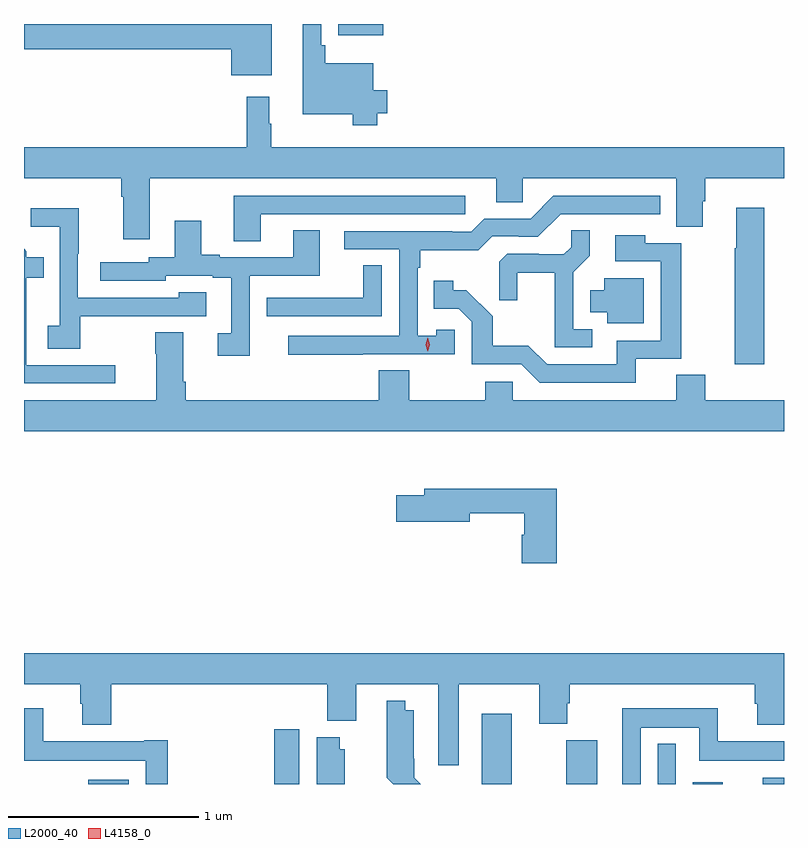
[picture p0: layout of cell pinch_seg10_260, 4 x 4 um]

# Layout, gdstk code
import gdstk
lib = gdstk.Library(unit=1e-6, precision=1e-09)
def R(c, l, rs):  # rectangles x0, y0, x1, y1
    for r in rs: c.add(gdstk.rectangle(r[:2], r[2:], *l))
def P(c, l, *ps):  # polygons
    for p in ps: c.add(gdstk.Polygon(p, *l))
L2000_40 = (2000, 40)
L4158_0 = (4158, 0)

pinch_seg10_260 = lib.new_cell('pinch_seg10_260')
R(pinch_seg10_260, L2000_40, [(514.919,1286.472,515.134,1286.494), (515.9,1286.472,516.031,1286.761), (516.992,1286.472,517.15,1286.842), (517.436,1286.472,517.6,1286.703), (517.917,1286.472,518.013,1286.683), (518.102,1286.472,518.26,1286.482), (518.471,1286.472,518.582,1286.506), (516.236,1290.413,516.472,1290.472)])
P(pinch_seg10_260, L2000_40, [(515.887,1290.472),(514.582,1290.472),(514.582,1290.34),(515.672,1290.34),(515.672,1290.203),(515.887,1290.203)],
  [(516.44,1290.002),(516.494,1290.002),(516.494,1290.124),(516.421,1290.124),(516.421,1290.265),(516.167,1290.265),(516.167,1290.361),(516.147,1290.361),(516.147,1290.472),(516.05,1290.472),(516.05,1289.996),(516.312,1289.996),(516.312,1289.939),(516.44,1289.939)],
  [(515.245,1289.66),(517.067,1289.66),(517.067,1289.533),(517.206,1289.533),(517.206,1289.66),(518.015,1289.66),(518.015,1289.404),(518.155,1289.404),(518.155,1289.538),(518.168,1289.538),(518.168,1289.66),(518.582,1289.66),(518.582,1289.824),(515.884,1289.824),(515.884,1289.948),(515.872,1289.948),(515.872,1290.088),(515.755,1290.088),(515.755,1289.824),(514.582,1289.824),(514.582,1289.66),(515.093,1289.66),(515.093,1289.564),(515.105,1289.564),(515.105,1289.34),(515.245,1289.34)],
  [(516.365,1288.734),(516.849,1288.734),(516.849,1288.863),(516.753,1288.863),(516.753,1288.831),(516.654,1288.831),(516.654,1289.189),(516.667,1289.189),(516.667,1289.282),(516.974,1289.282),(517.047,1289.355),(517.186,1289.355),(517.186,1289.352),(517.287,1289.352),(517.407,1289.472),(517.93,1289.472),(517.93,1289.568),(517.368,1289.568),(517.248,1289.448),(517.005,1289.448),(516.936,1289.379),(516.836,1289.379),(516.836,1289.382),(516.267,1289.382),(516.267,1289.286),(516.558,1289.286),(516.558,1288.83),(515.972,1288.83),(515.972,1288.732),(516.365,1288.732)],
  [(515.827,1289.472),(516.904,1289.472),(516.904,1289.568),(515.687,1289.568),(515.687,1289.329),(515.827,1289.329)],
  [(518.477,1289.506),(518.33,1289.506),(518.33,1289.293),(518.323,1289.293),(518.323,1288.68),(518.477,1288.68)],
  [(514.879,1288.933),(515.183,1288.933),(515.183,1288.935),(515.542,1288.935),(515.542,1289.059),(515.397,1289.059),(515.397,1289.031),(514.866,1289.031),(514.866,1289.264),(514.869,1289.264),(514.869,1289.503),(514.617,1289.503),(514.617,1289.405),(514.77,1289.405),(514.77,1288.884),(514.707,1288.884),(514.707,1288.762),(514.879,1288.762)],
  [(515.769,1289.148),(516.139,1289.148),(516.139,1289.387),(515.999,1289.387),(515.999,1289.244),(515.611,1289.244),(515.611,1289.257),(515.515,1289.257),(515.515,1289.437),(515.375,1289.437),(515.375,1289.244),(515.238,1289.244),(515.238,1289.217),(514.983,1289.217),(514.983,1289.121),(515.328,1289.121),(515.328,1289.148),(515.576,1289.148),(515.576,1289.136),(515.672,1289.136),(515.672,1288.845),(515.601,1288.845),(515.601,1288.725),(515.769,1288.725)],
  [(517.573,1288.866),(517.473,1288.866),(517.473,1289.165),(517.559,1289.251),(517.559,1289.387),(517.461,1289.387),(517.461,1289.296),(517.424,1289.259),(517.29,1289.259),(517.29,1289.262),(517.125,1289.262),(517.084,1289.221),(517.084,1289.019),(517.178,1289.019),(517.178,1289.162),(517.376,1289.162),(517.376,1288.77),(517.573,1288.77)],
  [(517.802,1288.71),(518.041,1288.71),(518.041,1289.319),(517.851,1289.319),(517.851,1289.359),(517.695,1289.359),(517.695,1289.223),(517.932,1289.223),(517.932,1288.806),(517.703,1288.806),(517.703,1288.68),(517.335,1288.68),(517.237,1288.779),(517.048,1288.779),(517.048,1288.934),(516.91,1289.072),(516.84,1289.072),(516.84,1289.122),(516.739,1289.122),(516.739,1288.974),(516.87,1288.974),(516.939,1288.905),(516.939,1288.68),(517.2,1288.68),(517.296,1288.584),(517.802,1288.584)],
  [(515.062,1288.677),(514.594,1288.677),(514.594,1289.136),(514.685,1289.136),(514.685,1289.245),(514.593,1289.245),(514.593,1289.277),(514.582,1289.288),(514.582,1288.581),(515.062,1288.581)],
  [(516.465,1289.201),(516.367,1289.201),(516.367,1289.031),(515.971,1289.031),(515.971,1289.03),(515.859,1289.03),(515.859,1288.935),(516.465,1288.935)],
  [(517.843,1289.134),(517.637,1289.134),(517.637,1289.071),(517.562,1289.071),(517.562,1288.955),(517.652,1288.955),(517.652,1288.898),(517.843,1288.898)],
  [(518.582,1288.492),(518.168,1288.492),(518.168,1288.625),(518.015,1288.625),(518.015,1288.492),(517.155,1288.492),(517.155,1288.59),(517.009,1288.59),(517.009,1288.492),(516.609,1288.492),(516.609,1288.649),(516.449,1288.649),(516.449,1288.492),(515.432,1288.492),(515.432,1288.588),(515.419,1288.588),(515.419,1288.849),(515.272,1288.849),(515.272,1288.736),(515.279,1288.736),(515.279,1288.492),(514.582,1288.492),(514.582,1288.328),(518.582,1288.328)],
  [(517.385,1288.027),(516.689,1288.027),(516.689,1287.993),(516.54,1287.993),(516.54,1287.851),(516.928,1287.851),(516.928,1287.898),(517.214,1287.898),(517.214,1287.783),(517.202,1287.783),(517.202,1287.633),(517.385,1287.633)],
  [(516.871,1286.996),(517.294,1286.996),(517.294,1286.788),(517.441,1286.788),(517.441,1286.897),(517.454,1286.897),(517.454,1286.996),(518.429,1286.996),(518.429,1286.895),(518.441,1286.895),(518.441,1286.783),(518.582,1286.783),(518.582,1287.16),(514.582,1287.16),(514.582,1286.996),(514.877,1286.996),(514.877,1286.895),(514.889,1286.895),(514.889,1286.783),(515.042,1286.783),(515.042,1286.996),(516.179,1286.996),(516.179,1286.804),(516.331,1286.804),(516.331,1286.996),(516.761,1286.996),(516.761,1286.571),(516.871,1286.571)],
  [(516.635,1286.506),(516.635,1286.605),(516.634,1286.605),(516.634,1286.86),(516.589,1286.86),(516.589,1286.911),(516.492,1286.911),(516.492,1286.608),(516.491,1286.608),(516.491,1286.506),(516.525,1286.472),(516.669,1286.472)],
  [(517.827,1286.768),(518.136,1286.768),(518.136,1286.594),(518.582,1286.594),(518.582,1286.698),(518.234,1286.698),(518.234,1286.872),(517.73,1286.872),(517.73,1286.472),(517.827,1286.472)],
  [(515.339,1286.701),(515.216,1286.701),(515.216,1286.698),(514.682,1286.698),(514.682,1286.872),(514.582,1286.872),(514.582,1286.768),(514.584,1286.768),(514.584,1286.594),(515.223,1286.594),(515.223,1286.472),(515.339,1286.472)],
  [(516.271,1286.655),(516.244,1286.655),(516.244,1286.719),(516.122,1286.719),(516.122,1286.472),(516.271,1286.472)])
P(pinch_seg10_260, L4158_0, [(516.707,1288.749),(516.707,1288.75),(516.697,1288.785),(516.707,1288.821),(516.707,1288.821),(516.707,1288.821),(516.717,1288.785),(516.707,1288.75)])

lib.write_gds('pinch_seg10_260.gds')
